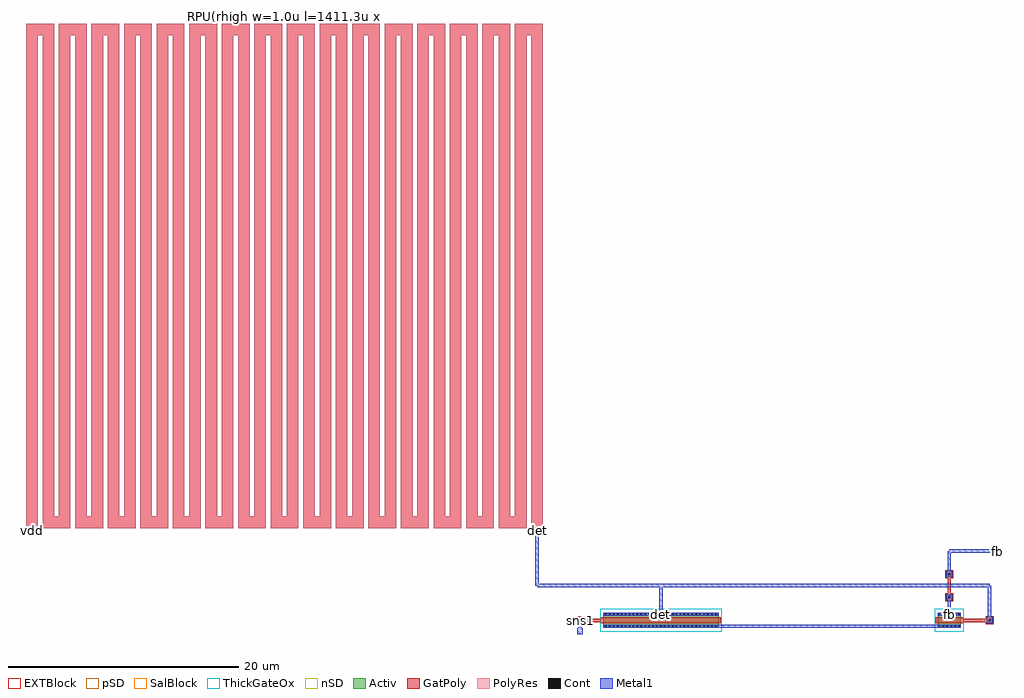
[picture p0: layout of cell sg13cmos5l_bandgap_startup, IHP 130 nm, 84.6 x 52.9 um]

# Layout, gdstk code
import gdstk
lib = gdstk.Library(unit=1e-6, precision=1e-09)
def R(c, l, rs):  # rectangles x0, y0, x1, y1
    for r in rs: c.add(gdstk.rectangle(r[:2], r[2:], *l))
def A(c, l, x, y, w, h, nx, ny, dx, dy):  # array of equal rectangles
    R(c, l, [(x+i*dx, y+j*dy, x+i*dx+w, y+j*dy+h) for i in range(nx) for j in range(ny)])
Activ = (1, 0)
GatPoly = (5, 0)
Cont = (6, 0)
nSD = (7, 0)
Metal1 = (8, 0)
pSD = (14, 0)
SalBlock = (28, 0)
ThickGateOx = (44, 0)
EXTBlock = (111, 0)
PolyRes = (128, 0)

sg13cmos5l_bandgap_start = lib.new_cell('sg13cmos5l_bandgap_startup')
R(sg13cmos5l_bandgap_start, Activ, [(50,-0.65,60,0.65), (79,-0.65,81,0.65)])
A(sg13cmos5l_bandgap_start, GatPoly, 0, 8, 1, 43.704, 32, 1, 1.412, 0)
A(sg13cmos5l_bandgap_start, GatPoly, 2.412, 8, 0.412, 1, 15, 1, 2.824, 0)
A(sg13cmos5l_bandgap_start, GatPoly, 1, 50.704, 0.412, 1, 16, 1, 2.824, 0)
R(sg13cmos5l_bandgap_start, GatPoly, [(47.65,-0.35,48.35,0.35), (83.15,-0.35,83.85,0.35), (49.82,-0.25,60.18,0.25), (78.82,-0.25,81.18,0.25), (48,-0.15,49.82,0.15), (81.18,-0.15,83.5,0.15), (79.65,1.65,80.35,2.35), (79.85,2,80.15,4), (79.65,3.65,80.35,4.35), (-0.1,7.6,1.1,8), (43.672,7.6,44.872,8)])
A(sg13cmos5l_bandgap_start, Cont, 50.16, -0.58, 0.16, 0.16, 29, 2, 0.34, 1)
A(sg13cmos5l_bandgap_start, Cont, 79.07, -0.58, 0.16, 0.16, 6, 2, 0.34, 1)
A(sg13cmos5l_bandgap_start, Cont, 0.08, 7.72, 0.16, 0.16, 3, 1, 0.34, 0)
A(sg13cmos5l_bandgap_start, Cont, 43.852, 7.72, 0.16, 0.16, 3, 1, 0.34, 0)
R(sg13cmos5l_bandgap_start, Cont, [(47.92,-0.08,48.08,0.08), (83.42,-0.08,83.58,0.08), (79.92,1.92,80.08,2.08), (79.92,3.92,80.08,4.08)])
A(sg13cmos5l_bandgap_start, nSD, 0, 8, 1, 43.704, 32, 1, 1.412, 0)
A(sg13cmos5l_bandgap_start, nSD, 2.412, 8, 0.412, 1, 15, 1, 2.824, 0)
A(sg13cmos5l_bandgap_start, nSD, 1, 50.704, 0.412, 1, 16, 1, 2.824, 0)
R(sg13cmos5l_bandgap_start, Metal1, [(47.75,-1.2,48.25,-0.7), (47.85,-0.7,48.15,-0.25), (50,-0.65,60,-0.39), (50,-0.65,81,-0.39), (79,-0.65,81,-0.39), (47.75,-0.25,48.25,0.25), (83.25,-0.25,83.75,0.25), (83.35,0,83.65,3), (50,0.39,60,0.65), (79,0.39,81,0.65), (54.85,0.65,55.15,3), (79.85,0.65,80.15,2), (79.75,1.75,80.25,2.25), (44.272,2.85,83.5,3.15), (44.122,3,44.422,7.5), (79.75,3.75,80.25,4.25), (79.85,4,80.15,6), (83.9,5.75,84.4,6.25), (80,5.85,83.9,6.15), (-0.2,7.5,1.2,8), (43.572,7.5,44.972,8)])
A(sg13cmos5l_bandgap_start, pSD, 0, 8, 1, 43.704, 32, 1, 1.412, 0)
A(sg13cmos5l_bandgap_start, pSD, 2.412, 8, 0.412, 1, 15, 1, 2.824, 0)
A(sg13cmos5l_bandgap_start, pSD, 1, 50.704, 0.412, 1, 16, 1, 2.824, 0)
A(sg13cmos5l_bandgap_start, SalBlock, 0, 8, 1, 43.704, 32, 1, 1.412, 0)
A(sg13cmos5l_bandgap_start, SalBlock, 2.412, 8, 0.412, 1, 15, 1, 2.824, 0)
A(sg13cmos5l_bandgap_start, SalBlock, 1, 50.704, 0.412, 1, 16, 1, 2.824, 0)
R(sg13cmos5l_bandgap_start, ThickGateOx, [(49.73,-0.99,60.27,0.99), (78.73,-0.99,81.27,0.99)])
A(sg13cmos5l_bandgap_start, EXTBlock, 0, 8, 1, 43.704, 32, 1, 1.412, 0)
A(sg13cmos5l_bandgap_start, EXTBlock, 2.412, 8, 0.412, 1, 15, 1, 2.824, 0)
A(sg13cmos5l_bandgap_start, EXTBlock, 1, 50.704, 0.412, 1, 16, 1, 2.824, 0)
A(sg13cmos5l_bandgap_start, PolyRes, 0, 8, 1, 43.704, 32, 1, 1.412, 0)
A(sg13cmos5l_bandgap_start, PolyRes, 2.412, 8, 0.412, 1, 15, 1, 2.824, 0)
A(sg13cmos5l_bandgap_start, PolyRes, 1, 50.704, 0.412, 1, 16, 1, 2.824, 0)
sg13cmos5l_bandgap_start.add(gdstk.Label('vdd', (0.5,7.75), layer=8, texttype=2))
sg13cmos5l_bandgap_start.add(gdstk.Label('det', (44.272,7.75), layer=8, texttype=2))
sg13cmos5l_bandgap_start.add(gdstk.Label('det', (55,0.52), layer=8, texttype=2))
sg13cmos5l_bandgap_start.add(gdstk.Label('vss', (55,-0.52), layer=8, texttype=2))
sg13cmos5l_bandgap_start.add(gdstk.Label('fb', (80,0.52), layer=8, texttype=2))
sg13cmos5l_bandgap_start.add(gdstk.Label('vss', (80,-0.52), layer=8, texttype=2))
sg13cmos5l_bandgap_start.add(gdstk.Label('sns1', (48,0), layer=8, texttype=2))
sg13cmos5l_bandgap_start.add(gdstk.Label('sns1', (48,-0.95), layer=8, texttype=2))
sg13cmos5l_bandgap_start.add(gdstk.Label('fb', (84.15,6), layer=8, texttype=2))
sg13cmos5l_bandgap_start.add(gdstk.Label('RPU(rhigh w=1.0u l=1411.3u x32)', (22.386,52.304), layer=63, texttype=0))
sg13cmos5l_bandgap_start.add(gdstk.Label('MSENSE(sg13_hv_nmos w=10.0u l=0.5u g=sns1)', (55,1.45), layer=63, texttype=0))
sg13cmos5l_bandgap_start.add(gdstk.Label('MKFB(sg13_hv_nmos w=2.0u l=0.5u g=det)', (80,1.45), layer=63, texttype=0))

lib.write_gds('sg13cmos5l_bandgap_startup.gds')
